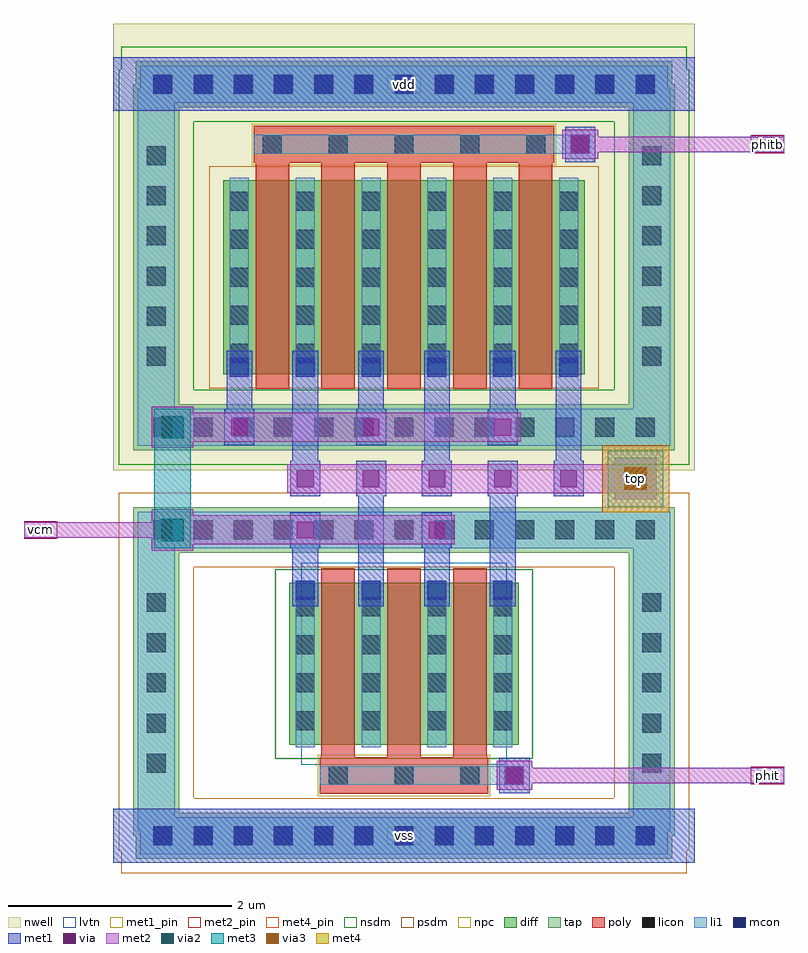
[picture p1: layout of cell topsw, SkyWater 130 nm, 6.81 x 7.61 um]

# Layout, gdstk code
import gdstk
lib = gdstk.Library(unit=1e-6, precision=1e-09)
def R(c, l, rs):  # rectangles x0, y0, x1, y1
    for r in rs: c.add(gdstk.rectangle(r[:2], r[2:], *l))
def A(c, l, x, y, w, h, nx, ny, dx, dy):  # array of equal rectangles
    R(c, l, [(x+i*dx, y+j*dy, x+i*dx+w, y+j*dy+h) for i in range(nx) for j in range(ny)])
nwell = (64, 20)
diff = (65, 20)
tap = (65, 44)
poly = (66, 20)
licon = (66, 44)
li1 = (67, 20)
mcon = (67, 44)
met1_pin = (68, 16)
met1 = (68, 20)
via = (68, 44)
met2_pin = (69, 16)
met2 = (69, 20)
via2 = (69, 44)
met3 = (70, 20)
via3 = (70, 44)
met4_pin = (71, 16)
met4 = (71, 20)
nsdm = (93, 44)
psdm = (94, 20)
npc = (95, 20)
lvtn = (125, 44)

topsw = lib.new_cell('topsw')
R(topsw, nwell, [(-2.605,3.515,2.605,7.515)])
A(topsw, diff, -1.03, 1.055, 0.88, 1.45, 3, 1, 0.59, 0)
A(topsw, diff, -1.62, 4.375, 0.88, 1.74, 5, 1, 0.59, 0)
R(topsw, tap, [(-2.405,0.035,2.405,0.445), (-2.425,0.24,-2.015,2.98), (2.015,0.24,2.425,2.98), (-2.425,2.775,2.425,3.185), (-2.425,3.695,2.425,4.105), (-2.425,3.9,-2.015,6.975), (2.015,3.9,2.425,6.975), (-2.405,6.77,2.405,7.18)])
A(topsw, poly, -0.755, 0.615, 0.33, 0.33, 3, 1, 0.59, 0)
A(topsw, poly, -0.74, 0.945, 0.3, 1.69, 3, 1, 0.59, 0)
A(topsw, poly, -1.33, 4.245, 0.3, 2.025, 5, 1, 0.59, 0)
A(topsw, poly, -1.345, 6.27, 0.33, 0.33, 5, 1, 0.59, 0)
A(topsw, poly, -1.025, 6.27, 0.28, 0.33, 4, 1, 0.59, 0)
R(topsw, poly, [(-0.435,0.615,-0.155,0.945), (0.155,0.615,0.435,0.945)])
A(topsw, licon, -2.245, 0.155, 0.17, 0.17, 13, 2, 0.36, 2.74)
A(topsw, licon, -0.675, 0.695, 0.17, 0.17, 3, 1, 0.59, 0)
A(topsw, licon, -2.305, 0.805, 0.17, 0.17, 1, 5, 0, 0.36)
A(topsw, licon, 2.135, 0.805, 0.17, 0.17, 1, 5, 0, 0.36)
A(topsw, licon, -0.97, 1.185, 0.17, 0.17, 1, 4, 0, 0.34)
A(topsw, licon, 0.8, 1.185, 0.17, 0.17, 1, 4, 0, 0.34)
A(topsw, licon, -2.245, 3.815, 0.17, 0.17, 13, 2, 0.36, 3.075)
A(topsw, licon, -2.305, 4.45, 0.17, 0.17, 1, 6, 0, 0.36)
A(topsw, licon, 2.135, 4.45, 0.17, 0.17, 1, 6, 0, 0.36)
A(topsw, licon, -1.56, 4.48, 0.17, 0.17, 1, 5, 0, 0.34)
A(topsw, licon, 1.39, 4.48, 0.17, 0.17, 1, 5, 0, 0.34)
A(topsw, licon, -1.265, 6.35, 0.17, 0.17, 5, 1, 0.59, 0)
R(topsw, licon, [(-0.38,1.185,-0.21,1.355), (-0.38,1.185,-0.21,1.355), (0.21,1.185,0.38,1.355), (0.21,1.185,0.38,1.355), (-0.38,1.525,-0.21,1.695), (-0.38,1.525,-0.21,1.695), (0.21,1.525,0.38,1.695), (0.21,1.525,0.38,1.695), (-0.38,1.865,-0.21,2.035), (-0.38,1.865,-0.21,2.035), (0.21,1.865,0.38,2.035), (0.21,1.865,0.38,2.035), (-0.38,2.205,-0.21,2.375), (-0.38,2.205,-0.21,2.375), (0.21,2.205,0.38,2.375), (0.21,2.205,0.38,2.375), (-0.97,4.48,-0.8,4.65), (-0.97,4.48,-0.8,4.65), (-0.38,4.48,-0.21,4.65), (-0.38,4.48,-0.21,4.65), (0.21,4.48,0.38,4.65), (0.21,4.48,0.38,4.65), (0.8,4.48,0.97,4.65), (0.8,4.48,0.97,4.65), (-0.97,4.82,-0.8,4.99), (-0.97,4.82,-0.8,4.99), (-0.38,4.82,-0.21,4.99), (-0.38,4.82,-0.21,4.99), (0.21,4.82,0.38,4.99), (0.21,4.82,0.38,4.99), (0.8,4.82,0.97,4.99), (0.8,4.82,0.97,4.99), (-0.97,5.16,-0.8,5.33), (-0.97,5.16,-0.8,5.33), (-0.38,5.16,-0.21,5.33), (-0.38,5.16,-0.21,5.33), (0.21,5.16,0.38,5.33), (0.21,5.16,0.38,5.33), (0.8,5.16,0.97,5.33), (0.8,5.16,0.97,5.33), (-0.97,5.5,-0.8,5.67), (-0.97,5.5,-0.8,5.67), (-0.38,5.5,-0.21,5.67), (-0.38,5.5,-0.21,5.67), (0.21,5.5,0.38,5.67), (0.21,5.5,0.38,5.67), (0.8,5.5,0.97,5.67), (0.8,5.5,0.97,5.67), (-0.97,5.84,-0.8,6.01), (-0.97,5.84,-0.8,6.01), (-0.38,5.84,-0.21,6.01), (-0.38,5.84,-0.21,6.01), (0.21,5.84,0.38,6.01), (0.21,5.84,0.38,6.01), (0.8,5.84,0.97,6.01), (0.8,5.84,0.97,6.01)])
A(topsw, li1, -0.755, 0.695, 0.33, 0.17, 3, 1, 0.59, 0)
A(topsw, li1, -1.345, 6.35, 0.33, 0.17, 5, 1, 0.59, 0)
A(topsw, li1, -1.025, 6.35, 0.28, 0.17, 4, 1, 0.59, 0)
R(topsw, li1, [(-2.365,0.075,2.365,0.405), (-2.385,0.28,-2.055,2.94), (2.055,0.28,2.385,2.94), (-0.755,0.695,1.075,0.865), (-0.435,0.695,-0.155,0.865), (0.155,0.695,0.435,0.865), (-0.97,1.035,-0.8,2.525), (-0.38,1.035,-0.21,2.525), (-0.38,1.035,-0.21,2.525), (0.21,1.035,0.38,2.525), (0.21,1.035,0.38,2.525), (0.8,1.035,0.97,2.525), (-2.385,2.815,2.385,3.145), (-2.385,3.735,2.385,4.065), (-2.385,3.94,-2.055,6.935), (2.055,3.94,2.385,6.935), (-1.56,4.355,-1.39,6.135), (-0.97,4.355,-0.8,6.135), (-0.97,4.355,-0.8,6.135), (-0.38,4.355,-0.21,6.135), (-0.38,4.355,-0.21,6.135), (0.21,4.355,0.38,6.135), (0.21,4.355,0.38,6.135), (0.8,4.355,0.97,6.135), (0.8,4.355,0.97,6.135), (1.39,4.355,1.56,6.135), (-1.345,6.35,1.665,6.52), (-2.365,6.81,2.365,7.14)])
A(topsw, mcon, -2.245, 0.155, 0.17, 0.17, 13, 2, 0.36, 6.735)
A(topsw, mcon, -0.97, 2.355, 0.17, 0.17, 4, 1, 0.59, 0)
A(topsw, mcon, -1.56, 4.355, 0.17, 0.17, 6, 1, 0.59, 0)
R(topsw, mcon, [(0.905,0.695,1.075,0.865), (1.495,6.35,1.665,6.52)])
R(topsw, met1_pin, [(-0.15,0.16,0.15,0.32), (-0.15,6.895,0.15,7.055)])
A(topsw, met1, -1, 2.295, 0.23, 0.29, 4, 1, 0.59, 0)
A(topsw, met1, -1.02, 3.28, 0.27, 0.32, 5, 1, 0.59, 0)
A(topsw, met1, -1, 3.28, 0.23, 0.32, 5, 1, 0.59, 0)
A(topsw, met1, -1, 3.44, 0.23, 1, 3, 1, 1.18, 0)
A(topsw, met1, -1.61, 3.74, 0.27, 0.32, 3, 1, 1.18, 0)
A(topsw, met1, -1.59, 3.74, 0.23, 0.32, 3, 1, 1.18, 0)
A(topsw, met1, -1.59, 3.9, 0.23, 0.54, 3, 1, 1.18, 0)
A(topsw, met1, -1.59, 4.295, 0.23, 0.29, 6, 1, 0.59, 0)
R(topsw, met1, [(-2.605,0,2.605,0.48), (0.855,0.62,1.125,0.94), (-1,2.44,-0.77,2.98), (-0.41,2.44,-0.18,3.44), (0.18,2.44,0.41,2.98), (0.77,2.44,1,3.44), (-1.02,2.82,-0.75,3.14), (-1,2.82,-0.77,3.14), (0.16,2.82,0.43,3.14), (0.18,2.82,0.41,3.14), (1.445,6.275,1.715,6.595), (-2.605,6.735,2.605,7.215)])
A(topsw, via, -0.96, 3.365, 0.15, 0.15, 5, 1, 0.59, 0)
A(topsw, via, -1.55, 3.825, 0.15, 0.15, 3, 1, 1.18, 0)
R(topsw, via, [(0.915,0.705,1.065,0.855), (-0.96,2.905,-0.81,3.055), (0.22,2.905,0.37,3.055), (1.505,6.36,1.655,6.51)])
R(topsw, met2_pin, [(3.105,0.7,3.405,0.86), (-3.405,2.9,-3.105,3.06), (3.105,6.355,3.405,6.515)])
A(topsw, met2, -1.045, 3.31, 0.32, 0.26, 5, 1, 0.59, 0)
A(topsw, met2, -1.635, 3.77, 0.32, 0.26, 3, 1, 1.18, 0)
R(topsw, met2, [(0.83,0.65,1.15,0.91), (0.99,0.71,3.405,0.85), (-2.26,2.795,-1.89,3.165), (-2.235,2.85,0.455,3.11), (-1.045,2.85,-0.725,3.11), (0.135,2.85,0.455,3.11), (-3.405,2.91,-1.475,3.05), (1.89,3.255,2.26,3.625), (-1.045,3.31,1.635,3.57), (1.475,3.31,2.075,3.57), (-2.26,3.715,-1.89,4.085), (-2.235,3.77,1.045,4.03), (1.42,6.305,1.74,6.565), (1.58,6.365,3.405,6.505)])
R(topsw, via2, [(-2.175,2.88,-1.975,3.08), (1.975,3.34,2.175,3.54), (-2.175,3.8,-1.975,4)])
R(topsw, met3, [(-2.24,2.815,-1.91,3.145), (-2.24,2.815,-1.91,4.065), (1.825,3.19,2.325,3.69), (-2.24,3.735,-1.91,4.065)])
R(topsw, via3, [(1.975,3.34,2.175,3.54)])
R(topsw, met4_pin, [(1.925,3.36,2.225,3.52)])
R(topsw, met4, [(1.775,3.14,2.375,3.74)])
A(topsw, nsdm, -1.155, 0.93, 1.13, 1.7, 3, 1, 0.59, 0)
R(topsw, nsdm, [(-2.555,3.565,2.555,4.235), (-2.555,3.77,-1.885,7.105), (1.885,3.77,2.555,7.105), (-2.535,6.64,2.535,7.31)])
A(topsw, psdm, -1.745, 4.25, 1.13, 1.99, 5, 1, 0.59, 0)
R(topsw, psdm, [(-2.535,-0.095,2.535,0.575), (-2.555,0.11,-1.885,3.11), (1.885,0.11,2.555,3.11), (-2.555,2.645,2.555,3.315)])
A(topsw, npc, -0.775, 0.595, 0.37, 0.37, 3, 1, 0.59, 0)
A(topsw, npc, -1.365, 6.25, 0.37, 0.37, 5, 1, 0.59, 0)
A(topsw, npc, -1.005, 6.25, 0.24, 0.37, 4, 1, 0.59, 0)
R(topsw, npc, [(-0.415,0.595,-0.175,0.965), (0.175,0.595,0.415,0.965)])
A(topsw, lvtn, -0.92, 0.875, 0.66, 1.81, 3, 1, 0.59, 0)
topsw.add(gdstk.Label('top', (2.075,3.44), layer=71, texttype=5))
topsw.add(gdstk.Label('vcm', (-3.255,2.98), layer=69, texttype=5))
topsw.add(gdstk.Label('phit', (3.255,0.78), layer=69, texttype=5))
topsw.add(gdstk.Label('phitb', (3.255,6.435), layer=69, texttype=5))
topsw.add(gdstk.Label('vss', (0,0.24), layer=68, texttype=5))
topsw.add(gdstk.Label('vdd', (0,6.975), layer=68, texttype=5))

lib.write_gds('topsw.gds')
